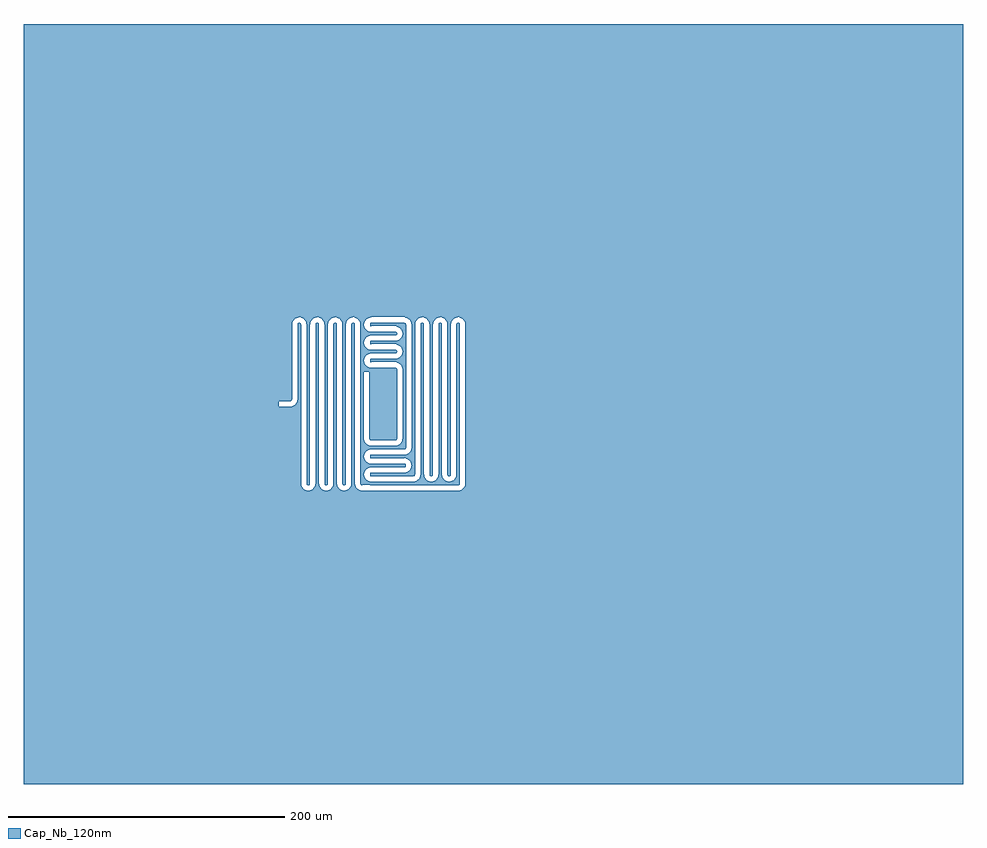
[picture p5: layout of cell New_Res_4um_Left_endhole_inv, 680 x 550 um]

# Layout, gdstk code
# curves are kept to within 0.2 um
import gdstk
lib = gdstk.Library(unit=1e-6, precision=1e-09)
def P(c, l, *ps):  # polygons
    for p in ps: c.add(gdstk.Polygon(p, *l))
Cap_Nb_120nm = (6, 0)

new_res_4um_left_endhole = lib.new_cell('New_Res_4um_Left_endhole_inv')
P(new_res_4um_left_endhole, Cap_Nb_120nm, [(-340,-275),(-340,275),(-89.32,275),(-89.32,62.602),(-91.04,62.03),(-92.41,60.97),(-93.46,59.25),(-93.79,57.55),(-93.46,55.57),(-92.59,54.07),(-91.04,52.79),(-89.32,52.219),(-89.32,49.602),(-91.04,49.03),(-92.41,47.97),(-93.46,46.25),(-93.79,44.55),(-93.46,42.57),(-92.59,41.07),(-91.04,39.79),(-89.32,39.219),(-89.32,36.602),(-91.04,36.03),(-92.41,34.97),(-93.46,33.25),(-93.79,31.55),(-93.46,29.57),(-92.59,28.07),(-91.04,26.79),(-89.32,26.219),(-89.32,-25.99),(-89.8,-25.01),(-89.8,23.44),(-93.8,23.44),(-93.8,-25.11),(-93.42,-26.96),(-92.54,-28.41),(-91,-29.65),(-89.32,-30.2),(-89.32,-32.818),(-91.04,-33.39),(-92.6,-34.67),(-93.46,-36.17),(-93.79,-37.87),(-93.46,-39.85),(-92.59,-41.35),(-91.04,-42.63),(-89.32,-43.201),(-89.32,-45.818),(-91.04,-46.39),(-92.6,-47.67),(-93.46,-49.17),(-93.79,-51.16),(-93.35,-53.12),(-92.4,-54.57),(-91.04,-55.63),(-89.32,-56.201),(-89.32,-58.75),(-95.33,-58.71),(-96.03,-58.27),(-96.3,-57.49),(-96.3,57.5),(-96.8,59.72),(-97.79,61.14),(-99.18,62.17),(-100.83,62.68),(-102.27,62.68),(-103.92,62.17),(-105.31,61.14),(-106.3,59.72),(-106.77,58.06),(-106.8,-57.49),(-107.17,-58.38),(-108.05,-58.74),(-108.94,-58.38),(-109.3,-57.49),(-109.5,58.91),(-110.41,60.71),(-111.68,61.88),(-113.26,62.57),(-114.99,62.71),(-116.66,62.29),(-118.11,61.34),(-119.17,59.98),(-119.77,58.06),(-119.8,-57.49),(-120.17,-58.38),(-121.05,-58.74),(-121.94,-58.38),(-122.3,-57.49),(-122.33,58.06),(-122.93,59.98),(-124,61.35),(-125.71,62.4),(-127.41,62.73),(-129.12,62.49),(-130.66,61.71),(-131.87,60.47),(-132.67,58.63),(-132.8,-57.49),(-133.17,-58.38),(-134.05,-58.74),(-134.94,-58.38),(-135.3,-57.49),(-135.33,58.06),(-135.8,59.72),(-136.79,61.14),(-138.18,62.17),(-139.83,62.68),(-141.56,62.63),(-143.18,62.03),(-144.51,60.93),(-145.52,59.19),(-145.8,57.5),(-145.83,3.21),(-146.24,2.44),(-147.15,2.01),(-155.5,2),(-155.5,-275)],
  [(-155.5,-275),(-155.5,-2),(-147.1,-2),(-145.6,-1.73),(-143.21,-0.18),(-141.99,2.07),(-141.8,57.48),(-141.53,58.26),(-140.83,58.7),(-140.01,58.61),(-139.42,58.02),(-139.27,-58.07),(-138.67,-59.99),(-137.61,-61.36),(-136.42,-62.18),(-134.77,-62.69),(-133.04,-62.64),(-131.42,-62.04),(-130.09,-60.94),(-129.3,-59.73),(-128.8,-57.5),(-128.8,57.48),(-128.53,58.26),(-127.83,58.7),(-127.01,58.61),(-126.49,58.15),(-126.27,-58.07),(-125.8,-59.73),(-125.01,-60.94),(-123.92,-61.89),(-122.34,-62.58),(-120.9,-62.74),(-119.21,-62.41),(-117.94,-61.72),(-116.74,-60.48),(-116.08,-59.2),(-115.8,-57.5),(-115.8,57.48),(-115.61,58.15),(-114.96,58.66),(-114.27,58.7),(-113.57,58.26),(-113.3,57.48),(-113.27,-58.07),(-112.8,-59.73),(-112.01,-60.94),(-109.62,-62.5),(-106.76,-62.58),(-105.42,-62.04),(-104.09,-60.94),(-103.08,-59.2),(-102.8,-57.5),(-102.8,57.48),(-102.33,58.46),(-101.27,58.7),(-100.57,58.26),(-100.3,57.48),(-100.27,-58.06),(-99.4,-60.44),(-97.25,-62.26),(-95.25,-62.75),(-89.32,-62.75),(-89.32,-275)],
  [(-89.32,-275),(-89.32,-62.75),(-24.98,-62.73),(-23.34,-62.28),(-21.74,-61.12),(-20.67,-59.45),(-20.3,-57.65),(-20.31,57.77),(-20.8,59.72),(-21.79,61.14),(-23.18,62.17),(-25.12,62.71),(-27.39,62.4),(-29.11,61.34),(-30.3,59.72),(-30.79,57.77),(-30.99,-51.66),(-31.51,-52.12),(-32.33,-52.21),(-33.03,-51.77),(-33.3,-50.99),(-33.37,58.35),(-33.93,59.98),(-35.21,61.54),(-36.71,62.4),(-38.7,62.73),(-40.66,62.29),(-42.11,61.34),(-43.17,59.98),(-43.77,58.06),(-43.8,-50.99),(-44.27,-51.97),(-45.33,-52.21),(-46.03,-51.77),(-46.3,-50.99),(-46.31,57.77),(-46.8,59.72),(-48,61.35),(-49.71,62.4),(-51.7,62.73),(-53.66,62.29),(-55.11,61.34),(-56.3,59.72),(-56.79,57.77),(-56.87,-51.4),(-57.38,-52.05),(-58.05,-52.245),(-88.67,-52.251),(-89.32,-51.99),(-89.32,-50.03),(-88.68,-49.77),(-64.49,-49.77),(-62.87,-49.48),(-61.59,-48.82),(-59.89,-46.88),(-59.35,-44.08),(-59.66,-42.67),(-60.35,-41.4),(-62.34,-39.76),(-64.49,-39.245),(-88.67,-39.251),(-89.32,-38.99),(-89.32,-37.03),(-88.68,-36.77),(-63.41,-36.66),(-61.59,-35.88),(-60.36,-34.71),(-59.56,-33.21),(-59.29,-31.53),(-59.5,58.8),(-60.22,60.34),(-61.38,61.57),(-62.88,62.37),(-64.315,62.655),(-89.32,62.602),(-89.32,275),(340,275),(340,-275)],
  [(-89.32,-58.75),(-89.32,-56.201),(-57.2,-56.17),(-54.65,-54.99),(-53.07,-52.67),(-52.8,-51.1),(-52.8,57.48),(-52.44,58.37),(-51.69,58.72),(-50.77,58.46),(-50.3,57.48),(-50.17,-52.14),(-49.52,-53.74),(-48.39,-55.05),(-46.89,-55.91),(-44.9,-56.24),(-42.94,-55.8),(-41.49,-54.85),(-40.43,-53.49),(-39.83,-51.57),(-39.8,57.48),(-39.44,58.37),(-38.55,58.73),(-37.67,58.37),(-37.3,57.48),(-37.27,-51.57),(-36.8,-53.23),(-36.01,-54.44),(-34.67,-55.54),(-33.06,-56.14),(-31.33,-56.19),(-29.68,-55.68),(-28.49,-54.85),(-27.43,-53.49),(-26.8,-51.1),(-26.8,57.48),(-26.22,58.54),(-24.88,58.54),(-24.3,57.48),(-24.49,-58.18),(-25.41,-58.75)],
  [(-88.75,-26.24),(-89.32,-25.99),(-89.32,26.219),(-70.63,26.1),(-69.8,25.06),(-69.9,-25.4),(-70.41,-26.05),(-71.08,-26.24)],
  [(-89.32,-32.818),(-89.32,-30.2),(-70.51,-30.21),(-67.9,-29.17),(-66.2,-26.93),(-65.8,-25.23),(-65.79,24.92),(-66.16,26.87),(-66.86,28.1),(-68.09,29.27),(-69.91,30.05),(-88.54,30.13),(-89.32,30.43),(-89.32,32.39),(-88.68,32.65),(-70.85,32.63),(-69.61,32.87),(-68.05,33.61),(-66.81,34.81),(-66.12,36.08),(-65.79,37.78),(-66.03,39.49),(-66.81,41.03),(-68.05,42.24),(-69.89,43.04),(-88.54,43.13),(-89.32,43.43),(-89.32,45.39),(-88.68,45.65),(-70.81,45.63),(-68.54,46.3),(-66.64,48.05),(-65.84,50.2),(-66.12,52.76),(-67.59,54.88),(-69.06,55.79),(-70.75,56.16),(-88.54,56.13),(-89.32,56.43),(-89.32,58.39),(-88.61,58.655),(-64.28,58.61),(-63.58,58.17),(-63.3,57.39),(-63.32,-31.81),(-63.76,-32.51),(-64.49,-32.776)],
  [(-89.32,49.602),(-89.32,52.219),(-70.85,52.153),(-70.06,51.7),(-69.79,50.92),(-70.06,50.14),(-71.04,49.63)],
  [(-89.32,36.602),(-89.32,39.219),(-70.81,39.147),(-70.06,38.7),(-69.79,37.92),(-70.06,37.14),(-71.04,36.63)],
  [(-89.32,-45.818),(-89.32,-43.201),(-64.58,-43.245),(-63.6,-43.73),(-63.33,-44.51),(-63.7,-45.4),(-64.58,-45.77)])

lib.write_gds('New_Res_4um_Left_endhole_inv.gds')
